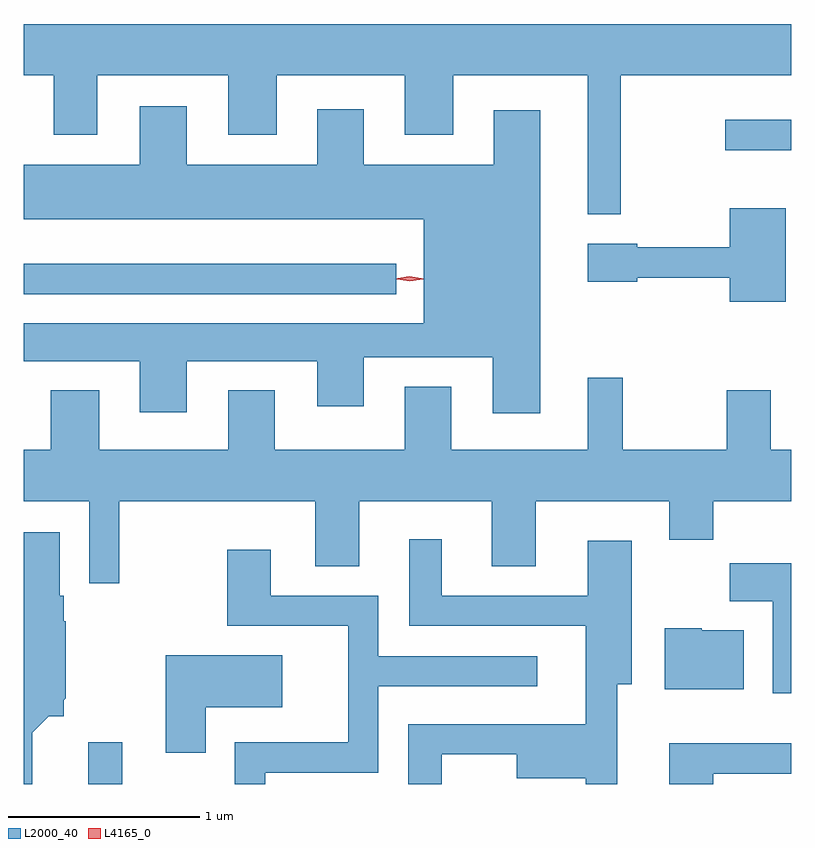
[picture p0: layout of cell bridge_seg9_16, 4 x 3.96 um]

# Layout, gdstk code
import gdstk
lib = gdstk.Library(unit=1e-6, precision=1e-09)
def R(c, l, rs):  # rectangles x0, y0, x1, y1
    for r in rs: c.add(gdstk.rectangle(r[:2], r[2:], *l))
def P(c, l, *ps):  # polygons
    for p in ps: c.add(gdstk.Polygon(p, *l))
L2000_40 = (2000, 40)
L4165_0 = (4165, 0)

bridge_seg9_16 = lib.new_cell('bridge_seg9_16')
R(bridge_seg9_16, L2000_40, [(1822.531,2021.422,1822.709,2021.639), (1822.196,2023.976,1824.138,2024.134), (1825.853,2024.726,1826.196,2024.884)])
P(bridge_seg9_16, L2000_40, [(1825.309,2025.116),(1826.196,2025.116),(1826.196,2025.384),(1822.196,2025.384),(1822.196,2025.116),(1822.351,2025.116),(1822.351,2024.806),(1822.579,2024.806),(1822.579,2025.116),(1823.261,2025.116),(1823.261,2024.806),(1823.514,2024.806),(1823.514,2025.116),(1824.181,2025.116),(1824.181,2024.806),(1824.434,2024.806),(1824.434,2025.116),(1825.136,2025.116),(1825.136,2024.391),(1825.309,2024.391)],
  [(1824.889,2024.934),(1824.646,2024.934),(1824.646,2024.649),(1823.969,2024.649),(1823.969,2024.939),(1823.726,2024.939),(1823.726,2024.649),(1823.044,2024.649),(1823.044,2024.954),(1822.801,2024.954),(1822.801,2024.649),(1822.196,2024.649),(1822.196,2024.366),(1824.281,2024.366),(1824.281,2023.824),(1822.196,2023.824),(1822.196,2023.626),(1822.801,2023.626),(1822.801,2023.361),(1823.044,2023.361),(1823.044,2023.626),(1823.726,2023.626),(1823.726,2023.391),(1823.969,2023.391),(1823.969,2023.646),(1824.641,2023.646),(1824.641,2023.356),(1824.889,2023.356)],
  [(1826.169,2024.424),(1825.876,2024.424),(1825.876,2024.219),(1825.394,2024.219),(1825.394,2024.239),(1825.136,2024.239),(1825.136,2024.041),(1825.394,2024.041),(1825.394,2024.061),(1825.876,2024.061),(1825.876,2023.936),(1826.169,2023.936)],
  [(1822.694,2022.896),(1823.716,2022.896),(1823.716,2022.556),(1823.944,2022.556),(1823.944,2022.896),(1824.636,2022.896),(1824.636,2022.556),(1824.864,2022.556),(1824.864,2022.896),(1825.561,2022.896),(1825.561,2022.696),(1825.789,2022.696),(1825.789,2022.896),(1826.196,2022.896),(1826.196,2023.164),(1826.089,2023.164),(1826.089,2023.474),(1825.861,2023.474),(1825.861,2023.164),(1825.319,2023.164),(1825.319,2023.539),(1825.136,2023.539),(1825.136,2023.164),(1824.424,2023.164),(1824.424,2023.494),(1824.181,2023.494),(1824.181,2023.164),(1823.504,2023.164),(1823.504,2023.474),(1823.261,2023.474),(1823.261,2023.164),(1822.589,2023.164),(1822.589,2023.474),(1822.336,2023.474),(1822.336,2023.164),(1822.196,2023.164),(1822.196,2022.896),(1822.536,2022.896),(1822.536,2022.468),(1822.694,2022.468)],
  [(1822.239,2021.689),(1822.327,2021.776),(1822.404,2021.776),(1822.404,2021.859),(1822.414,2021.869),(1822.414,2022.27),(1822.404,2022.27),(1822.404,2022.404),(1822.384,2022.404),(1822.384,2022.734),(1822.196,2022.734),(1822.196,2021.422),(1822.239,2021.422)],
  [(1824.374,2021.576),(1824.766,2021.576),(1824.766,2021.451),(1825.126,2021.451),(1825.126,2021.422),(1825.289,2021.422),(1825.289,2021.941),(1825.364,2021.941),(1825.364,2022.689),(1825.136,2022.689),(1825.136,2022.404),(1824.374,2022.404),(1824.374,2022.698),(1824.206,2022.698),(1824.206,2022.246),(1825.126,2022.246),(1825.126,2021.734),(1824.201,2021.734),(1824.201,2021.422),(1824.374,2021.422)],
  [(1823.454,2021.481),(1824.044,2021.481),(1824.044,2021.931),(1824.873,2021.931),(1824.873,2022.089),(1824.044,2022.089),(1824.044,2022.404),(1823.484,2022.404),(1823.484,2022.644),(1823.256,2022.644),(1823.256,2022.246),(1823.886,2022.246),(1823.886,2021.639),(1823.296,2021.639),(1823.296,2021.422),(1823.454,2021.422)],
  [(1826.196,2022.574),(1825.876,2022.574),(1825.876,2022.376),(1826.101,2022.376),(1826.101,2021.896),(1826.196,2021.896)],
  [(1825.949,2022.224),(1825.73,2022.224),(1825.73,2022.234),(1825.536,2022.234),(1825.536,2021.916),(1825.949,2021.916)],
  [(1823.144,2021.821),(1823.544,2021.821),(1823.544,2022.094),(1822.936,2022.094),(1822.936,2021.586),(1823.144,2021.586)],
  [(1825.789,2021.476),(1826.196,2021.476),(1826.196,2021.634),(1825.561,2021.634),(1825.561,2021.422),(1825.789,2021.422)])
P(bridge_seg9_16, L4165_0, [(1824.205,2024.049),(1824.144,2024.058),(1824.143,2024.058),(1824.144,2024.059),(1824.205,2024.068),(1824.267,2024.059),(1824.267,2024.059),(1824.267,2024.058)],
  [(1824.208,2024.044),(1824.14,2024.054),(1824.139,2024.055),(1824.14,2024.055),(1824.209,2024.064),(1824.277,2024.055),(1824.278,2024.054),(1824.277,2024.054)])

lib.write_gds('bridge_seg9_16.gds')
